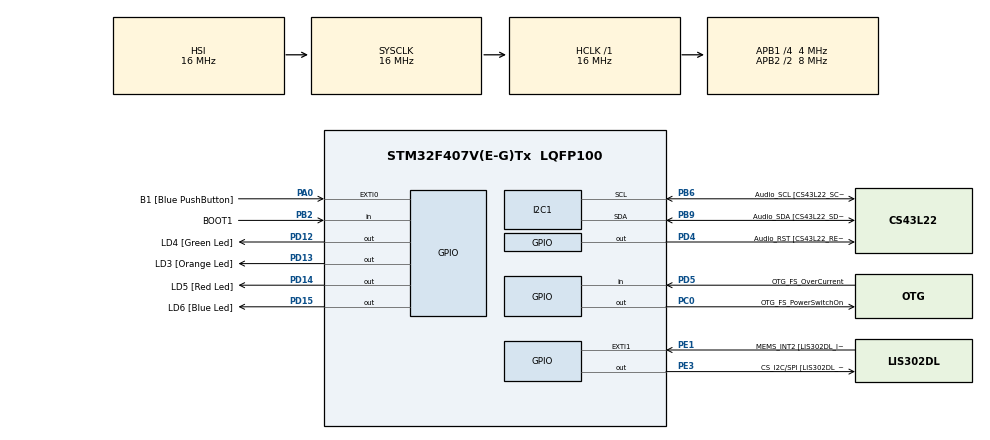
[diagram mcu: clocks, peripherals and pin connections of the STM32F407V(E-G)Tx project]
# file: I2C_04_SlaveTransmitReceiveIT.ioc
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I2C1.OwnAddress=57
Mcu.Family=STM32F4
Mcu.Name=STM32F407V(E-G)Tx
Mcu.Package=LQFP100
NVIC.I2C1_ER_IRQn=true\:0\:0\:false\:false\:true\:true\:true\:true
NVIC.I2C1_EV_IRQn=true\:0\:0\:false\:false\:true\:true\:true\:true
NVIC.PriorityGroup=NVIC_PRIORITYGROUP_0
PA0-WKUP.GPIO_Label=B1 [Blue PushButton]
PA0-WKUP.Signal=GPXTI0
PA10.GPIO_Label=OTG_FS_ID
PA10.GPIO_Mode=GPIO_MODE_AF_PP
PA10.GPIO_PuPd=GPIO_NOPULL
PA10.GPIO_Speed=GPIO_SPEED_FREQ_LOW
PA10.Signal=USB_OTG_FS_ID
PA11.GPIO_Label=OTG_FS_DM
PA11.GPIO_Mode=GPIO_MODE_AF_PP
PA11.GPIO_PuPd=GPIO_NOPULL
PA11.GPIO_Speed=GPIO_SPEED_FREQ_LOW
PA11.Signal=USB_OTG_FS_DM
PA12.GPIO_Label=OTG_FS_DP
PA12.GPIO_Mode=GPIO_MODE_AF_PP
PA12.GPIO_PuPd=GPIO_NOPULL
PA12.GPIO_Speed=GPIO_SPEED_FREQ_LOW
PA12.Signal=USB_OTG_FS_DP
PA13.GPIO_Label=SWDIO
PA13.Signal=SYS_JTMS-SWDIO
PA14.GPIO_Label=SWCLK
PA14.Signal=SYS_JTCK-SWCLK
PA4.GPIO_Label=I2S3_WS [CS43L22_LRCK]
PA4.GPIO_Mode=GPIO_MODE_AF_PP
PA4.GPIO_PuPd=GPIO_NOPULL
PA4.GPIO_Speed=GPIO_SPEED_FREQ_LOW
PA4.Signal=I2S3_WS
PA5.GPIO_Label=SPI1_SCK [LIS302DL_SCL/SPC]
PA5.GPIO_Mode=GPIO_MODE_AF_PP
PA5.GPIO_PuPd=GPIO_NOPULL
PA5.GPIO_Speed=GPIO_SPEED_FREQ_LOW
PA5.Signal=SPI1_SCK
PA6.GPIO_Label=SPI1_MISO [LIS302DL_SDO]
PA6.GPIO_Mode=GPIO_MODE_AF_PP
PA6.GPIO_PuPd=GPIO_NOPULL
PA6.GPIO_Speed=GPIO_SPEED_FREQ_LOW
PA6.Signal=SPI1_MISO
PA7.GPIO_Label=SPI1_MOSI [LIS302DL_SDA/SDI/SDO]
PA7.GPIO_Mode=GPIO_MODE_AF_PP
PA7.GPIO_PuPd=GPIO_NOPULL
PA7.GPIO_Speed=GPIO_SPEED_FREQ_LOW
PA7.Signal=SPI1_MOSI
PA9.GPIO_Label=VBUS_FS
PA9.GPIO_Mode=GPIO_MODE_INPUT
PA9.GPIO_PuPd=GPIO_NOPULL
PA9.Signal=USB_OTG_FS_VBUS
PB10.GPIO_Label=CLK_IN [MP45DT02_CLK]
PB10.GPIO_Mode=GPIO_MODE_AF_PP
PB10.GPIO_PuPd=GPIO_NOPULL
PB10.GPIO_Speed=GPIO_SPEED_FREQ_LOW
PB10.Signal=I2S2_CK
PB2.GPIO_Label=BOOT1
PB2.GPIO_Mode=GPIO_MODE_INPUT
PB2.GPIO_PuPd=GPIO_NOPULL
PB2.Signal=GPIO_Input
PB3.GPIO_Label=SWO
PB3.Signal=SYS_JTDO-SWO
PB6.GPIO_Label=Audio_SCL [CS43L22_SCL]
PB6.GPIO_Mode=GPIO_MODE_AF_OD
PB6.GPIO_PuPd=GPIO_NOPULL
PB6.GPIO_Speed=GPIO_SPEED_FREQ_LOW
PB6.Mode=I2C
PB6.Signal=I2C1_SCL
PB9.GPIO_Label=Audio_SDA [CS43L22_SDA]
PB9.GPIO_Mode=GPIO_MODE_AF_OD
PB9.GPIO_PuPd=GPIO_NOPULL
PB9.GPIO_Speed=GPIO_SPEED_FREQ_LOW
PB9.Mode=I2C
PB9.Signal=I2C1_SDA
PC0.GPIO_Label=OTG_FS_PowerSwitchOn
PC0.GPIO_PuPd=GPIO_NOPULL
PC0.GPIO_Speed=GPIO_SPEED_FREQ_LOW
PC0.PinState=GPIO_PIN_SET
PC0.Signal=GPIO_Output
PC10.GPIO_Label=I2S3_SCK [CS43L22_SCLK]
PC10.GPIO_Mode=GPIO_MODE_AF_PP
PC10.GPIO_PuPd=GPIO_NOPULL
PC10.GPIO_Speed=GPIO_SPEED_FREQ_LOW
PC10.Signal=I2S3_CK
PC12.GPIO_Label=I2S3_SD [CS43L22_SDIN]
PC12.GPIO_Mode=GPIO_MODE_AF_PP
PC12.GPIO_PuPd=GPIO_NOPULL
PC12.GPIO_Speed=GPIO_SPEED_FREQ_LOW
PC12.Signal=I2S3_SD
PC14-OSC32_IN.GPIO_Label=PC14-OSC32_IN
PC14-OSC32_IN.Signal=RCC_OSC32_IN
PC15-OSC32_OUT.GPIO_Label=PC15-OSC32_OUT
PC15-OSC32_OUT.Signal=RCC_OSC32_OUT
PC3.GPIO_Label=PDM_OUT [MP45DT02_DOUT]
PC3.GPIO_Mode=GPIO_MODE_AF_PP
PC3.GPIO_PuPd=GPIO_NOPULL
PC3.GPIO_Speed=GPIO_SPEED_FREQ_LOW
PC3.Signal=I2S2_SD
PC7.GPIO_Label=I2S3_MCK [CS43L22_MCLK]
PC7.GPIO_Mode=GPIO_MODE_AF_PP
PC7.GPIO_PuPd=GPIO_NOPULL
PC7.GPIO_Speed=GPIO_SPEED_FREQ_LOW
PC7.Signal=I2S3_MCK
PD12.GPIO_Label=LD4 [Green Led]
PD12.GPIO_PuPd=GPIO_NOPULL
PD12.GPIO_Speed=GPIO_SPEED_FREQ_LOW
PD12.Signal=GPIO_Output
PD13.GPIO_Label=LD3 [Orange Led]
PD13.GPIO_PuPd=GPIO_NOPULL
PD13.GPIO_Speed=GPIO_SPEED_FREQ_LOW
PD13.Signal=GPIO_Output
PD14.GPIO_Label=LD5 [Red Led]
PD14.GPIO_PuPd=GPIO_NOPULL
PD14.GPIO_Speed=GPIO_SPEED_FREQ_LOW
PD14.Signal=GPIO_Output
PD15.GPIO_Label=LD6 [Blue Led]
PD15.GPIO_PuPd=GPIO_NOPULL
PD15.GPIO_Speed=GPIO_SPEED_FREQ_LOW
PD15.Signal=GPIO_Output
PD4.GPIO_Label=Audio_RST [CS43L22_RESET]
PD4.GPIO_PuPd=GPIO_NOPULL
PD4.GPIO_Speed=GPIO_SPEED_FREQ_LOW
PD4.Signal=GPIO_Output
PD5.GPIO_Label=OTG_FS_OverCurrent
PD5.GPIO_Mode=GPIO_MODE_INPUT
PD5.GPIO_PuPd=GPIO_NOPULL
PD5.Signal=GPIO_Input
PE1.GPIO_Label=MEMS_INT2 [LIS302DL_INT2]
PE1.GPIO_ModeDefaultEXTI=GPIO_MODE_EVT_RISING
PE1.GPIO_PuPd=GPIO_NOPULL
PE1.Signal=GPXTI1
PE3.GPIO_Label=CS_I2C/SPI [LIS302DL_CS_I2C/SPI]
PE3.GPIO_PuPd=GPIO_NOPULL
PE3.GPIO_Speed=GPIO_SPEED_FREQ_LOW
PE3.Signal=GPIO_Output
PH0-OSC_IN.GPIO_Label=PH0-OSC_IN
PH0-OSC_IN.Signal=RCC_OSC_IN
PH1-OSC_OUT.GPIO_Label=PH1-OSC_OUT
PH1-OSC_OUT.Signal=RCC_OSC_OUT
ProjectManager.HeapSize=0x200
ProjectManager.StackSize=0x400
ProjectManager.TargetToolchain=STM32CubeIDE
RCC.48MHZClocksFreq_Value=14285714.285714285
RCC.AHBFreq_Value=16000000
RCC.APB1CLKDivider=RCC_HCLK_DIV4
RCC.APB1Freq_Value=4000000
RCC.APB1TimFreq_Value=8000000
RCC.APB2CLKDivider=RCC_HCLK_DIV2
RCC.APB2Freq_Value=8000000
RCC.APB2TimFreq_Value=16000000
RCC.CortexFreq_Value=16000000
RCC.HCLKFreq_Value=16000000
RCC.HSE_VALUE=8000000
RCC.HSI_VALUE=16000000
RCC.LSE_VALUE=32768
RCC.PLLM=8
RCC.PLLN=50
RCC.PLLP=RCC_PLLP_DIV4
RCC.PLLQ=7
RCC.SYSCLKFreq_VALUE=16000000
RCC.VCOOutputFreq_Value=100000000
board=STM32F407G-DISC1

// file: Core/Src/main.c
/* USER CODE BEGIN Header */
/**
  ******************************************************************************
  * @file           : main.c
  * @brief          : Main program body
  ******************************************************************************
  * @attention
  *
  * Copyright (c) 2026 STMicroelectronics.
  * All rights reserved.
  *
  * This software is licensed under terms that can be found in the LICENSE file
  * in the root directory of this software component.
  * If no LICENSE file comes with this software, it is provided AS-IS.
  *
  ******************************************************************************
  */
/* USER CODE END Header */
#include "main.h"

/* USER CODE BEGIN Includes */
#include <stdio.h>
#include <stdint.h>
#include <string.h>
//PB9 is I2C_SDA
//PB6 is I2C_SCL
//Min pull-up is approx 1k, Max Pull up is approx 20k we will use 3.3k resistor
/* USER CODE END Includes */

/* USER CODE BEGIN PD */
#define OLDMASTER_ADDR		(0x56<<1)
#define OLDMASTER_MSGLEN	29
/* USER CODE END PD */

I2C_HandleTypeDef hi2c1;

/* USER CODE BEGIN PV */
uint8_t MstrRcvBuf[60];
uint8_t MstrOneByteRcv;
uint8_t MstrTwoByteRcv[3];
uint8_t MstrThreeByteRcv[4];

uint8_t MstrOneByteSend = 'B';
uint8_t MstrTwoByteSend[] = "FU";
uint8_t MstrThreeByteSend[] = "OKS";
uint8_t MstrMsgSend[] = "Calis kole";//Not so original
/* USER CODE END PV */

void SystemClock_Config(void);
static void MX_GPIO_Init(void);
static void MX_I2C1_Init(void);

int main(void)
{

  /* MCU Configuration--------------------------------------------------------*/

  /* Reset of all peripherals, Initializes the Flash interface and the Systick. */
  HAL_Init();

  /* Configure the system clock */
  SystemClock_Config();

  /* Initialize all configured peripherals */
  MX_GPIO_Init();
  MX_I2C1_Init();

  /* Infinite loop */
  /* USER CODE BEGIN WHILE */
  while (1)
  {
	  HAL_I2C_Master_Transmit_IT(&hi2c1, OLDMASTER_ADDR, &MstrOneByteSend, 1);
	  while(hi2c1.State != HAL_I2C_STATE_READY);//Wait while i2c is busy in tx
	  printf("First byte sent\n");

	  HAL_I2C_Master_Transmit_IT(&hi2c1, OLDMASTER_ADDR, MstrTwoByteSend, 2);
	  while(hi2c1.State != HAL_I2C_STATE_READY);//Wait while i2c is busy in tx
	  printf("Two bytes sent\n");

	  HAL_I2C_Master_Transmit_IT(&hi2c1, OLDMASTER_ADDR, MstrThreeByteSend, 3);
	  while(hi2c1.State != HAL_I2C_STATE_READY);//Wait while i2c is busy in tx
	  printf("Three bytes sent\n");

	  HAL_I2C_Master_Transmit_IT(&hi2c1, OLDMASTER_ADDR, MstrMsgSend, strlen((char*)MstrMsgSend));
	  while(hi2c1.State != HAL_I2C_STATE_READY);//Wait while i2c is busy in tx
	  printf("The message is sent\n");

	  HAL_I2C_Master_Receive_IT(&hi2c1, OLDMASTER_ADDR, &MstrOneByteRcv, 1);
	  while(hi2c1.State != HAL_I2C_STATE_READY);//Wait while i2c is busy in rx
	  printf("First byte received is:%c \n",MstrOneByteRcv);

	  HAL_I2C_Master_Receive_IT(&hi2c1, OLDMASTER_ADDR, MstrTwoByteRcv, 2);
	  while(hi2c1.State != HAL_I2C_STATE_READY);//Wait while i2c is busy in rx
	  MstrTwoByteRcv[2] = '\0';
	  printf("Two bytes received: %s\n",MstrTwoByteRcv);

	  HAL_I2C_Master_Receive_IT(&hi2c1, OLDMASTER_ADDR, MstrThreeByteRcv, 3);
	  while(hi2c1.State != HAL_I2C_STATE_READY);//Wait while i2c is busy in rx
	  MstrThreeByteRcv[3] = '\0';
	  printf("Three bytes received: %s\n",MstrThreeByteRcv);

	  HAL_I2C_Master_Receive_IT(&hi2c1, OLDMASTER_ADDR, MstrRcvBuf,OLDMASTER_MSGLEN);
	  while(hi2c1.State != HAL_I2C_STATE_READY);//Wait while i2c is busy in rx
	  MstrRcvBuf[OLDMASTER_MSGLEN] = '\0';
	  printf("Message received: %s\n",MstrRcvBuf);
	  break;
    /* USER CODE END WHILE */

    /* USER CODE BEGIN 3 */
  }
  for(;;);
  /* USER CODE END 3 */
}

void SystemClock_Config(void)
{
  RCC_OscInitTypeDef RCC_OscInitStruct = {0};
  RCC_ClkInitTypeDef RCC_ClkInitStruct = {0};

  /** Configure the main internal regulator output voltage
  */
  __HAL_RCC_PWR_CLK_ENABLE();
  __HAL_PWR_VOLTAGESCALING_CONFIG(PWR_REGULATOR_VOLTAGE_SCALE1);

  /** Initializes the RCC Oscillators according to the specified parameters
  * in the RCC_OscInitTypeDef structure.
  */
  RCC_OscInitStruct.OscillatorType = RCC_OSCILLATORTYPE_HSI;
  RCC_OscInitStruct.HSIState = RCC_HSI_ON;
  RCC_OscInitStruct.HSICalibrationValue = RCC_HSICALIBRATION_DEFAULT;
  RCC_OscInitStruct.PLL.PLLState = RCC_PLL_NONE;
  if (HAL_RCC_OscConfig(&RCC_OscInitStruct) != HAL_OK)
  {
    Error_Handler();
  }

  /** Initializes the CPU, AHB and APB buses clocks
  */
  RCC_ClkInitStruct.ClockType = RCC_CLOCKTYPE_HCLK|RCC_CLOCKTYPE_SYSCLK
                              |RCC_CLOCKTYPE_PCLK1|RCC_CLOCKTYPE_PCLK2;
  RCC_ClkInitStruct.SYSCLKSource = RCC_SYSCLKSOURCE_HSI;
  RCC_ClkInitStruct.AHBCLKDivider = RCC_SYSCLK_DIV1;
  RCC_ClkInitStruct.APB1CLKDivider = RCC_HCLK_DIV4;
  RCC_ClkInitStruct.APB2CLKDivider = RCC_HCLK_DIV2;

  if (HAL_RCC_ClockConfig(&RCC_ClkInitStruct, FLASH_LATENCY_0) != HAL_OK)
  {
    Error_Handler();
  }
}

static void MX_I2C1_Init(void)
{

  hi2c1.Instance = I2C1;
  hi2c1.Init.ClockSpeed = 100000;
  hi2c1.Init.DutyCycle = I2C_DUTYCYCLE_2;
  hi2c1.Init.OwnAddress1 = 114;
  hi2c1.Init.AddressingMode = I2C_ADDRESSINGMODE_7BIT;
  hi2c1.Init.DualAddressMode = I2C_DUALADDRESS_DISABLE;
  hi2c1.Init.OwnAddress2 = 0;
  hi2c1.Init.GeneralCallMode = I2C_GENERALCALL_DISABLE;
  hi2c1.Init.NoStretchMode = I2C_NOSTRETCH_DISABLE;
  if (HAL_I2C_Init(&hi2c1) != HAL_OK)
  {
    Error_Handler();
  }

}

static void MX_GPIO_Init(void)
{
  GPIO_InitTypeDef GPIO_InitStruct = {0};

  /* GPIO Ports Clock Enable */
  __HAL_RCC_GPIOE_CLK_ENABLE();
  __HAL_RCC_GPIOC_CLK_ENABLE();
  __HAL_RCC_GPIOH_CLK_ENABLE();
  __HAL_RCC_GPIOA_CLK_ENABLE();
  __HAL_RCC_GPIOB_CLK_ENABLE();
  __HAL_RCC_GPIOD_CLK_ENABLE();

  /*Configure GPIO pin Output Level */
  HAL_GPIO_WritePin(CS_I2C_SPI_GPIO_Port, CS_I2C_SPI_Pin, GPIO_PIN_RESET);

  /*Configure GPIO pin Output Level */
  HAL_GPIO_WritePin(OTG_FS_PowerSwitchOn_GPIO_Port, OTG_FS_PowerSwitchOn_Pin, GPIO_PIN_SET);

  /*Configure GPIO pin Output Level */
  HAL_GPIO_WritePin(GPIOD, LD4_Pin|LD3_Pin|LD5_Pin|LD6_Pin
                          |Audio_RST_Pin, GPIO_PIN_RESET);

  /*Configure GPIO pin : CS_I2C_SPI_Pin */
  GPIO_InitStruct.Pin = CS_I2C_SPI_Pin;
  GPIO_InitStruct.Mode = GPIO_MODE_OUTPUT_PP;
  GPIO_InitStruct.Pull = GPIO_NOPULL;
  GPIO_InitStruct.Speed = GPIO_SPEED_FREQ_LOW;
  HAL_GPIO_Init(CS_I2C_SPI_GPIO_Port, &GPIO_InitStruct);

  /*Configure GPIO pin : OTG_FS_PowerSwitchOn_Pin */
  GPIO_InitStruct.Pin = OTG_FS_PowerSwitchOn_Pin;
  GPIO_InitStruct.Mode = GPIO_MODE_OUTPUT_PP;
  GPIO_InitStruct.Pull = GPIO_NOPULL;
  GPIO_InitStruct.Speed = GPIO_SPEED_FREQ_LOW;
  HAL_GPIO_Init(OTG_FS_PowerSwitchOn_GPIO_Port, &GPIO_InitStruct);

  /*Configure GPIO pin : PDM_OUT_Pin */
  GPIO_InitStruct.Pin = PDM_OUT_Pin;
  GPIO_InitStruct.Mode = GPIO_MODE_AF_PP;
  GPIO_InitStruct.Pull = GPIO_NOPULL;
  GPIO_InitStruct.Speed = GPIO_SPEED_FREQ_LOW;
  GPIO_InitStruct.Alternate = GPIO_AF5_SPI2;
  HAL_GPIO_Init(PDM_OUT_GPIO_Port, &GPIO_InitStruct);

  /*Configure GPIO pin : B1_Pin */
  GPIO_InitStruct.Pin = B1_Pin;
  GPIO_InitStruct.Mode = GPIO_MODE_IT_RISING;
  GPIO_InitStruct.Pull = GPIO_NOPULL;
  HAL_GPIO_Init(B1_GPIO_Port, &GPIO_InitStruct);

  /*Configure GPIO pin : I2S3_WS_Pin */
  GPIO_InitStruct.Pin = I2S3_WS_Pin;
  GPIO_InitStruct.Mode = GPIO_MODE_AF_PP;
  GPIO_InitStruct.Pull = GPIO_NOPULL;
  GPIO_InitStruct.Speed = GPIO_SPEED_FREQ_LOW;
  GPIO_InitStruct.Alternate = GPIO_AF6_SPI3;
  HAL_GPIO_Init(I2S3_WS_GPIO_Port, &GPIO_InitStruct);

  /*Configure GPIO pins : SPI1_SCK_Pin SPI1_MISO_Pin SPI1_MOSI_Pin */
  GPIO_InitStruct.Pin = SPI1_SCK_Pin|SPI1_MISO_Pin|SPI1_MOSI_Pin;
  GPIO_InitStruct.Mode = GPIO_MODE_AF_PP;
  GPIO_InitStruct.Pull = GPIO_NOPULL;
  GPIO_InitStruct.Speed = GPIO_SPEED_FREQ_LOW;
  GPIO_InitStruct.Alternate = GPIO_AF5_SPI1;
  HAL_GPIO_Init(GPIOA, &GPIO_InitStruct);

  /*Configure GPIO pin : BOOT1_Pin */
  GPIO_InitStruct.Pin = BOOT1_Pin;
  GPIO_InitStruct.Mode = GPIO_MODE_INPUT;
  GPIO_InitStruct.Pull = GPIO_NOPULL;
  HAL_GPIO_Init(BOOT1_GPIO_Port, &GPIO_InitStruct);

  /*Configure GPIO pin : CLK_IN_Pin */
  GPIO_InitStruct.Pin = CLK_IN_Pin;
  GPIO_InitStruct.Mode = GPIO_MODE_AF_PP;
  GPIO_InitStruct.Pull = GPIO_NOPULL;
  GPIO_InitStruct.Speed = GPIO_SPEED_FREQ_LOW;
  GPIO_InitStruct.Alternate = GPIO_AF5_SPI2;
  HAL_GPIO_Init(CLK_IN_GPIO_Port, &GPIO_InitStruct);

  /*Configure GPIO pins : LD4_Pin LD3_Pin LD5_Pin LD6_Pin
                           Audio_RST_Pin */
  GPIO_InitStruct.Pin = LD4_Pin|LD3_Pin|LD5_Pin|LD6_Pin
                          |Audio_RST_Pin;
  GPIO_InitStruct.Mode = GPIO_MODE_OUTPUT_PP;
  GPIO_InitStruct.Pull = GPIO_NOPULL;
  GPIO_InitStruct.Speed = GPIO_SPEED_FREQ_LOW;
  HAL_GPIO_Init(GPIOD, &GPIO_InitStruct);

  /*Configure GPIO pins : I2S3_MCK_Pin I2S3_SCK_Pin I2S3_SD_Pin */
  GPIO_InitStruct.Pin = I2S3_MCK_Pin|I2S3_SCK_Pin|I2S3_SD_Pin;
  GPIO_InitStruct.Mode = GPIO_MODE_AF_PP;
  GPIO_InitStruct.Pull = GPIO_NOPULL;
  GPIO_InitStruct.Speed = GPIO_SPEED_FREQ_LOW;
  GPIO_InitStruct.Alternate = GPIO_AF6_SPI3;
  HAL_GPIO_Init(GPIOC, &GPIO_InitStruct);

  /*Configure GPIO pin : VBUS_FS_Pin */
  GPIO_InitStruct.Pin = VBUS_FS_Pin;
  GPIO_InitStruct.Mode = GPIO_MODE_INPUT;
  GPIO_InitStruct.Pull = GPIO_NOPULL;
  HAL_GPIO_Init(VBUS_FS_GPIO_Port, &GPIO_InitStruct);

  /*Configure GPIO pins : OTG_FS_ID_Pin OTG_FS_DM_Pin OTG_FS_DP_Pin */
  GPIO_InitStruct.Pin = OTG_FS_ID_Pin|OTG_FS_DM_Pin|OTG_FS_DP_Pin;
  GPIO_InitStruct.Mode = GPIO_MODE_AF_PP;
  GPIO_InitStruct.Pull = GPIO_NOPULL;
  GPIO_InitStruct.Speed = GPIO_SPEED_FREQ_LOW;
  GPIO_InitStruct.Alternate = GPIO_AF10_OTG_FS;
  HAL_GPIO_Init(GPIOA, &GPIO_InitStruct);

  /*Configure GPIO pin : OTG_FS_OverCurrent_Pin */
  GPIO_InitStruct.Pin = OTG_FS_OverCurrent_Pin;
  GPIO_InitStruct.Mode = GPIO_MODE_INPUT;
  GPIO_InitStruct.Pull = GPIO_NOPULL;
  HAL_GPIO_Init(OTG_FS_OverCurrent_GPIO_Port, &GPIO_InitStruct);

  /*Configure GPIO pin : MEMS_INT2_Pin */
  GPIO_InitStruct.Pin = MEMS_INT2_Pin;
  GPIO_InitStruct.Mode = GPIO_MODE_EVT_RISING;
  GPIO_InitStruct.Pull = GPIO_NOPULL;
  HAL_GPIO_Init(MEMS_INT2_GPIO_Port, &GPIO_InitStruct);

}

void Error_Handler(void)
{
  __disable_irq();
  while (1)
  {
  }
}
